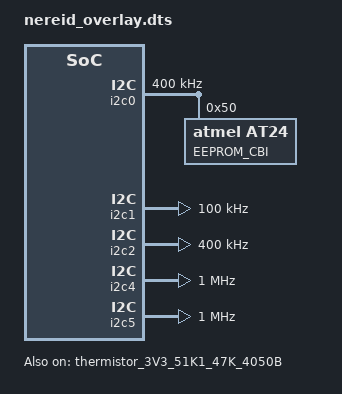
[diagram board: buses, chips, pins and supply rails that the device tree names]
/* Copyright 2021 The Chromium OS Authors. All rights reserved.
 * Use of this source code is governed by a BSD-style license that can be
 * found in the LICENSE file.
 */

#include <cros/thermistor/thermistor.dtsi>

/ {
	aliases {
		gpio-cbi-wp = &gpio_ec_cbi_wp;
		gpio-wp = &gpio_ec_wp_odl;
		int-wp = &int_wp_l;
	};

	batteries {
		default_battery: smp {
			compatible = "smp,l20m3pg0", "battery-smart";
		};
	};

	hibernate-wake-pins {
		compatible = "cros-ec,hibernate-wake-pins";
		wakeup-irqs = <
			&int_power_button
			&int_lid_open
		>;
	};

	gpio-interrupts {
		compatible = "cros-ec,gpio-interrupts";

		int_power_button: power_button {
			irq-pin = <&gpio_gsc_ec_pwr_btn_odl>;
			flags = <GPIO_INT_EDGE_BOTH>;
			handler = "power_button_interrupt";
		};
		int_vol_down: vol_down {
			irq-pin = <&gpio_voldn_btn_odl>;
			flags = <GPIO_INT_EDGE_BOTH>;
			handler = "button_interrupt";
		};
		int_vol_up: vol_up {
			irq-pin = <&gpio_volup_btn_odl>;
			flags = <GPIO_INT_EDGE_BOTH>;
			handler = "button_interrupt";
		};
		int_wp_l: wp_l {
			irq-pin = <&gpio_ec_wp_odl>;
			flags = <GPIO_INT_EDGE_BOTH>;
			handler = "switch_interrupt";
		};
		int_lid_open: lid_open {
			irq-pin = <&gpio_lid_open>;
			flags = <GPIO_INT_EDGE_BOTH>;
			handler = "lid_interrupt";
		};
		int_tablet_mode: tablet_mode {
			irq-pin = <&gpio_tablet_mode_l>;
			flags = <GPIO_INT_EDGE_BOTH>;
			handler = "gmr_tablet_switch_isr";
		};
		int_imu: ec_imu {
		  irq-pin = <&gpio_imu_int_l>;
		  flags = <GPIO_INT_EDGE_FALLING>;
		  handler = "bmi3xx_interrupt";
		};
		int_usb_c0: usb_c0 {
			irq-pin = <&gpio_usb_c0_int_odl>;
			flags = <GPIO_INT_EDGE_FALLING>;
			handler = "usb_c0_interrupt";
		};
		int_usb_c1: usb_c1 {
			irq-pin = <&gpio_sb_1>;
			flags = <GPIO_INT_EDGE_FALLING>;
			handler = "usb_c1_interrupt";
		};
		int_prochot: ap_prochot {
			irq-pin = <&gpio_ec_prochot_odl>;
			flags = <GPIO_INT_EDGE_BOTH>;
			handler = "throttle_ap_prochot_input_interrupt";
		};
	};

	named-gpios {
		/*
		 * EC doesn't take any specific action on CC/SBU disconnect due to
		 * fault, but this definition is useful for hardware testing.
		 */
		gpio_usb_c0_prot_fault_odl: usb_c0_prot_fault_odl {
			gpios = <&gpiok 6 GPIO_INPUT_PULL_UP>;
		};

		gpio_sb_1: sb_1 {
			gpios = <&gpioe 6 0>;
			no-auto-init;
		};
		gpio_sb_2: sb_2 {
			gpios = <&gpiof 0 0>;
			no-auto-init;
		};

		gpio_sb_3: sb_3 {
			gpios = <&gpioe 7 0>;
			no-auto-init;
		};
		gpio_sb_4: sb_4 {
			gpios = <&gpioe 0 0>;
			no-auto-init;
		};
	};

	/*
	 * Aliases used for sub-board GPIOs.
	 */
	aliases {
	  /* USB-C: interrupt input. I2C pins are on i2c_ec_i2c_sub_usb_c1 */
		gpio-usb-c1-int-odl = &gpio_sb_1;
		/*
		 * USB-A: VBUS enable output
		 * LTE: power enable output
		 */
		gpio-en-usb-a1-vbus = &gpio_sb_2;
		/*
		 * HDMI: power enable output, HDMI enable output,
		 * and HPD input
		 */
		gpio-en-rails-odl = &gpio_sb_1;
		gpio-hdmi-en-odl = &gpio_sb_4;
		gpio-hpd-odl = &gpio_sb_3;
		/*
		 * Enable S5 rails for LTE sub-board
		 */
		gpio-en-sub-s5-rails = &gpio_sb_2;
	};

	named-temp-sensors {
		memory {
			compatible = "cros-ec,temp-sensor-thermistor",
				     "cros-ec,temp-sensor";
			thermistor = <&thermistor_3V3_51K1_47K_4050B>;
			label = "DDR and SOC";
			enum-name = "TEMP_SENSOR_1";
			temp_fan_off = <35>;
			temp_fan_max = <60>;
			temp_host_high = <85>;
			temp_host_halt = <90>;
			temp_host_release_high = <80>;
			adc = <&adc_temp_sensor_1>;
		};
		charger {
			compatible = "cros-ec,temp-sensor-thermistor",
				     "cros-ec,temp-sensor";
			thermistor = <&thermistor_3V3_51K1_47K_4050B>;
			label = "Charger";
			enum-name = "TEMP_SENSOR_CHARGER";
			temp_fan_off = <35>;
			temp_fan_max = <60>;
			temp_host_high = <85>;
			temp_host_halt = <90>;
			temp_host_release_high = <80>;
			adc = <&adc_temp_sensor_2>;
		};
		ambient {
			compatible = "cros-ec,temp-sensor-thermistor",
				     "cros-ec,temp-sensor";
			thermistor = <&thermistor_3V3_51K1_47K_4050B>;
			label = "Ambient";
			enum-name = "TEMP_SENSOR_AMB";
			temp_fan_off = <35>;
			temp_fan_max = <60>;
			temp_host_high = <85>;
			temp_host_halt = <90>;
			temp_host_release_high = <80>;
			adc = <&adc_temp_sensor_3>;
		};
	};

	usba {
		compatible = "cros-ec,usba-port-enable-pins";
		/*
		 * sb_2 is only configured as GPIO when USB-A1 is present,
		 * but it's still safe to control when disabled.
		 *
		 * ILIM_SEL pins are referred to by legacy enum name,
		 * GPIO_USB*_ILIM_SEL. The one for port A1 is unused on
		 * sub-boards that don't have USB-A so is safe to control
		 * regardless of system configuration.
		 */
		enable-pins = <&gpio_en_usb_a0_vbus &gpio_sb_2>;
		status = "okay";
	};

	usbc {
		#address-cells = <1>;
		#size-cells = <0>;

		port0@0 {
			compatible = "named-usbc-port";
			reg = <0>;
			bc12 {
				compatible = "pericom,pi3usb9201";
				port = <&i2c_ec_i2c_usb_c0>;
			};
		};
		port1@1 {
			compatible = "named-usbc-port";
			reg = <1>;
			bc12 {
				compatible = "pericom,pi3usb9201";
				port = <&i2c_ec_i2c_sub_usb_c1>;
			};
		};
	};
};

&thermistor_3V3_51K1_47K_4050B {
	status = "okay";
};

&adc_ec_vsense_pp3300_s5 {
	/*
	 * Voltage divider on input has 47k upper and 220k lower legs with 3 V
	 * full-scale reading on the ADC. Apply the largest possible multiplier
	 * (without overflowing int32) to get the best possible approximation
	 * of the actual ratio, but derate by a factor of two to ensure
	 * unexpectedly high values won't overflow.
	 */
	mul = <(715828 / 2)>;
	div = <(589820 / 2)>;
};

/* Set bus speeds for I2C */
&i2c0 {
	label = "I2C_EEPROM";
	clock-frequency = <I2C_BITRATE_FAST>;

	cbi_eeprom: eeprom@50 {
		compatible = "atmel,at24";
		reg = <0x50>;
		label = "EEPROM_CBI";
		size = <2048>;
		pagesize = <16>;
		address-width = <8>;
		timeout = <5>;
	};
};

&i2c1 {
	label = "I2C_BATTERY";
	clock-frequency = <I2C_BITRATE_STANDARD>;
};

&i2c2 {
	label = "I2C_SENSOR";
	clock-frequency = <I2C_BITRATE_FAST>;
};

&i2c4 {
	label = "I2C_SUB_C1_TCPC";
	clock-frequency = <I2C_BITRATE_FAST_PLUS>;
};

&i2c5 {
	label = "I2C_USB_C0_TCPC";
	clock-frequency = <I2C_BITRATE_FAST_PLUS>;
};

/* PWM config */
&pwm0 {
	prescaler-cx = <PWM_PRESCALER_C4>;
};

&pwm1 {
	prescaler-cx = <PWM_PRESCALER_C4>;
};

&pwm2 {
	prescaler-cx = <PWM_PRESCALER_C4>;
};

&pwm3 {
	prescaler-cx = <PWM_PRESCALER_C4>;
};

&pwm_pwm_kb_bl {
	frequency = <10000>;
};

&pwm_pwm_led_1_odl {
	frequency = <324>;
};

&pwm_pwm_led_2_odl {
	frequency = <324>;
};

&pwm_pwm_led_3_odl {
	frequency = <324>;
};
